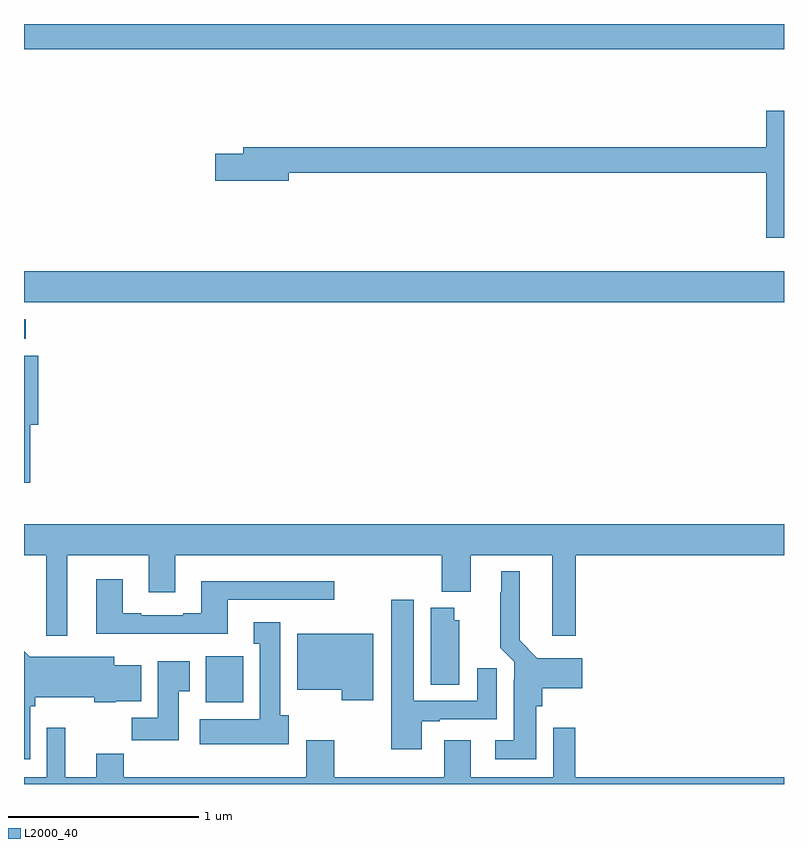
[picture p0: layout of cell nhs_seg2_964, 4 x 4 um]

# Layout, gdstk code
import gdstk
lib = gdstk.Library(unit=1e-6, precision=1e-09)
def R(c, l, rs):  # rectangles x0, y0, x1, y1
    for r in rs: c.add(gdstk.rectangle(r[:2], r[2:], *l))
def P(c, l, *ps):  # polygons
    for p in ps: c.add(gdstk.Polygon(p, *l))
L2000_40 = (2000, 40)

nhs_seg2_964 = lib.new_cell('nhs_seg2_964')
R(nhs_seg2_964, L2000_40, [(161.957,612.23,162.154,612.472), (161,614.144,161.008,614.245), (161,614.336,165,614.5), (161,615.668,165,615.8)])
P(nhs_seg2_964, L2000_40, [(165,615.343),(164.906,615.343),(164.906,615.152),(162.155,615.152),(162.155,615.116),(162.006,615.116),(162.006,614.974),(162.394,614.974),(162.394,615.016),(164.906,615.016),(164.906,614.676),(165,614.676)],
  [(161.033,613.691),(161.075,613.691),(161.075,614.055),(161,614.055),(161,613.386),(161.033,613.386)],
  [(161.227,613.004),(161.657,613.004),(161.657,612.81),(161.797,612.81),(161.797,613.004),(163.199,613.004),(163.199,612.812),(163.351,612.812),(163.351,613.004),(163.781,613.004),(163.781,612.579),(163.904,612.579),(163.904,613.004),(165,613.004),(165,613.168),(161,613.168),(161,613.004),(161.117,613.004),(161.117,612.579),(161.227,612.579)],
  [(163.696,612.21),(163.727,612.21),(163.727,612.305),(163.939,612.305),(163.939,612.463),(163.701,612.463),(163.609,612.556),(163.609,612.919),(163.511,612.919),(163.511,612.809),(163.507,612.809),(163.507,612.518),(163.581,612.444),(163.581,612.35),(163.577,612.35),(163.577,612.031),(163.479,612.031),(163.479,611.93),(163.696,611.93)],
  [(162.073,612.771),(162.634,612.771),(162.634,612.868),(161.933,612.868),(161.933,612.7),(161.837,612.7),(161.837,612.687),(161.617,612.687),(161.617,612.7),(161.521,612.7),(161.521,612.877),(161.381,612.877),(161.381,612.59),(162.073,612.59)],
  [(163.093,612.129),(163.189,612.129),(163.189,612.141),(163.489,612.141),(163.489,612.409),(163.385,612.409),(163.385,612.237),(163.051,612.237),(163.051,612.769),(162.932,612.769),(162.932,611.982),(163.093,611.982)],
  [(163.291,612.663),(163.264,612.663),(163.264,612.727),(163.142,612.727),(163.142,612.322),(163.291,612.322)],
  [(162.394,612.162),(162.349,612.162),(162.349,612.652),(162.209,612.652),(162.209,612.539),(162.242,612.539),(162.242,612.142),(161.925,612.142),(161.925,612.008),(162.394,612.008)],
  [(162.838,612.592),(162.437,612.592),(162.437,612.296),(162.673,612.296),(162.673,612.24),(162.838,612.24)],
  [(161.032,612.21),(161.058,612.21),(161.058,612.257),(161.37,612.257),(161.37,612.23),(161.484,612.23),(161.484,612.236),(161.617,612.236),(161.617,612.424),(161.476,612.424),(161.476,612.469),(161.031,612.469),(161,612.5),(161,611.93),(161.032,611.93)],
  [(161.815,612.289),(161.872,612.289),(161.872,612.445),(161.705,612.445),(161.705,612.148),(161.566,612.148),(161.566,612.03),(161.815,612.03)],
  [(165,611.836),(163.901,611.836),(163.901,612.097),(163.785,612.097),(163.785,611.836),(163.351,611.836),(163.351,612.031),(163.211,612.031),(163.211,611.836),(162.633,611.836),(162.633,612.031),(162.485,612.031),(162.485,611.836),(161.525,611.836),(161.525,611.96),(161.381,611.96),(161.381,611.836),(161.218,611.836),(161.218,612.097),(161.121,612.097),(161.121,611.836),(161,611.836),(161,611.8),(165,611.8)])

lib.write_gds('nhs_seg2_964.gds')
